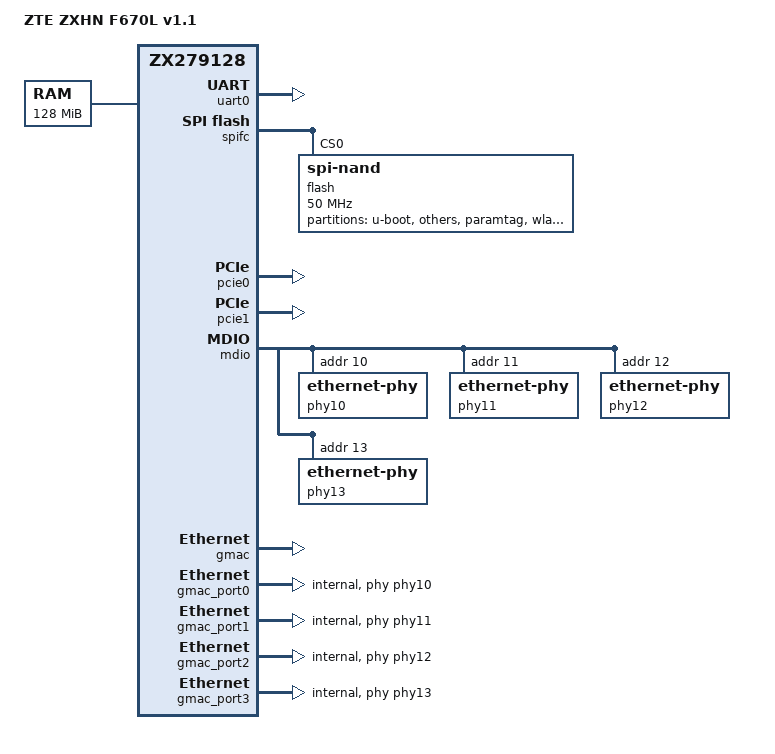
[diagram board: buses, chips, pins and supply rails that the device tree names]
// SPDX-License-Identifier: (GPL-2.0+ OR MIT)
/*
 * Copyright (C) 2026 OpenWrt.org
 * Device Tree for ZTE ZXHN F670L (v1.1)
 */

/dts-v1/;

#include "zx279128.dtsi"

/ {
	model = "ZTE ZXHN F670L v1.1";
	compatible = "zte,zxhn-f670l", "zte,f670l", "zte,zx279128";

	aliases {
		serial0 = &uart0;
		serial1 = &uart1;
	};

	chosen {
		bootargs = "earlycon=zteuart,0x94405000 console=ttyAMA0,115200n8 initcall_debug cma=32M";
		stdout-path = "serial0:115200n8";
	};

	memory@40000000 {
		device_type = "memory";
		reg = <0x40000000 0x08000000>; /* 128 MB DDR3 */
	};
};

&uart0 {
	status = "okay";
};

&spifc {
	status = "okay";

	flash@0 {
		compatible = "spi-nand";
		reg = <0>;
		spi-max-frequency = <50000000>;

		partitions {
			compatible = "fixed-partitions";
			#address-cells = <1>;
			#size-cells = <1>;

			partition@0 {
				label = "u-boot";
				reg = <0x00000000 0x00200000>;
				read-only;
			};

			partition@200000 {
				label = "others";
				reg = <0x00200000 0x00400000>;
			};

			partition@600000 {
				label = "paramtag";
				reg = <0x00600000 0x00400000>;
				read-only;
			};

			partition@a00000 {
				label = "wlan";
				reg = <0x00a00000 0x00400000>;
				read-only;
			};

			partition@e00000 {
				label = "usercfg";
				reg = <0x00e00000 0x00800000>;
			};

			partition@1600000 {
				label = "middleware";
				reg = <0x01600000 0x00400000>;
			};

			partition@1a00000 {
				label = "kernel1";
				reg = <0x01a00000 0x02000000>;
			};

			partition@3a00000 {
				label = "kernel2";
				reg = <0x03a00000 0x02000000>;
			};

			partition@5a00000 {
				label = "rootfs";
				reg = <0x05a00000 0x01fe0000>;
			};
		};
	};
};

&pcie0 {
	status = "okay";
};

&pcie1 {
	status = "okay";
};

&usb_dwc2 {
	status = "disabled";
};

&usb_dwc3 {
	status = "disabled";
};

&mdio {
	status = "okay";

	phy10: ethernet-phy@a {
		reg = <10>;
	};

	phy11: ethernet-phy@b {
		reg = <11>;
	};

	phy12: ethernet-phy@c {
		reg = <12>;
	};

	phy13: ethernet-phy@d {
		reg = <13>;
	};
};

&gmac {
	status = "okay";
};

&gmac_port0 {
	label = "lan1";
	phy-handle = <&phy10>;
	phy-mode = "internal";
	status = "okay";
};

&gmac_port1 {
	label = "lan2";
	phy-handle = <&phy11>;
	phy-mode = "internal";
	status = "okay";
};

&gmac_port2 {
	label = "lan3";
	phy-handle = <&phy12>;
	phy-mode = "internal";
	status = "okay";
};

&gmac_port3 {
	label = "lan4";
	phy-handle = <&phy13>;
	phy-mode = "internal";
	status = "okay";
};
